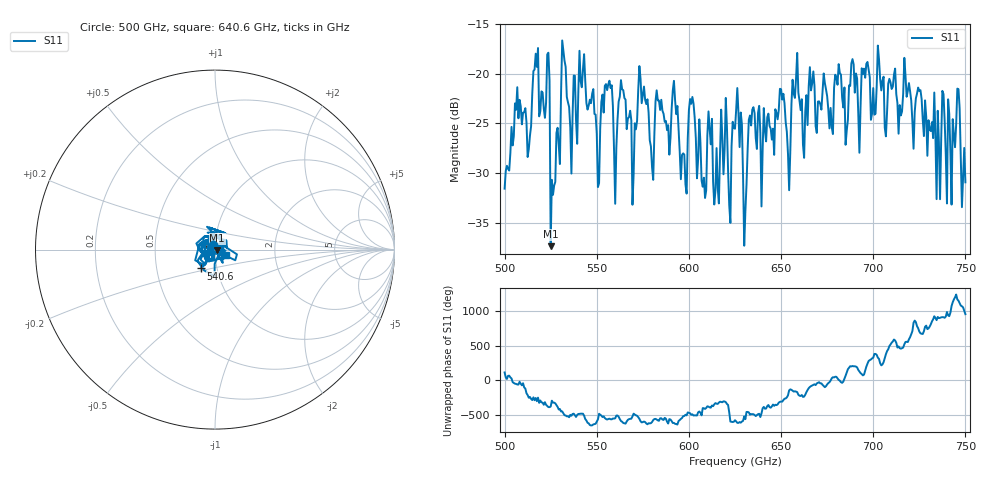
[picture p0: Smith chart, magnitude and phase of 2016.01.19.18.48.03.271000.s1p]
!Created with skrf (http://scikit-rf.org).
# GHz S RI R 50.0
!freq ReS11 ImS11
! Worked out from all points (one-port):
!   401 points, 500 GHz to 750 GHz, reference 50 ohm
!   lowest |S11| = -37.4 dB at 525 GHz (marker M1), VSWR 1.03, Z = 51.3 - j0.487 ohm
!   |S11| at or under -10 dB: start of sweep to end of sweep
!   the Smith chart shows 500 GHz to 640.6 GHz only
!   S11 on the Smith chart (normalised r, x): 500 GHz: 0.98, +0.05; 540.6 GHz: 0.84, -0.18; 640.6 GHz: 1.13, -0.06
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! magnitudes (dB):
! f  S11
! 500 GHz  -31.6
! 506.9 GHz  -21.4
! 513.1 GHz  -27.6
! 516.9 GHz  -18.0
! 523.1 GHz  -18.1
! 525 GHz  -37.4
! 526.2 GHz  -32.2
! 531.2 GHz  -16.6
! 540.6 GHz  -17.7
! 550.6 GHz  -31.4
! 562.5 GHz  -22.3
! 570 GHz  -30.1
! 573.8 GHz  -20.5
! 580 GHz  -29.4
! 593.8 GHz  -23.3
! 608.1 GHz  -30.5
! 611.2 GHz  -25.6
! 615 GHz  -27.5
! 625 GHz  -25.5
! 630.6 GHz  -33.9
! 633.8 GHz  -25.2
! 640.6 GHz  -23.5
! 656.2 GHz  -20.6
! 687.5 GHz  -21.2
! 718.8 GHz  -21.8
! 735 GHz  -23.7
! 745.6 GHz  -21.5
! 750 GHz  -30.9
